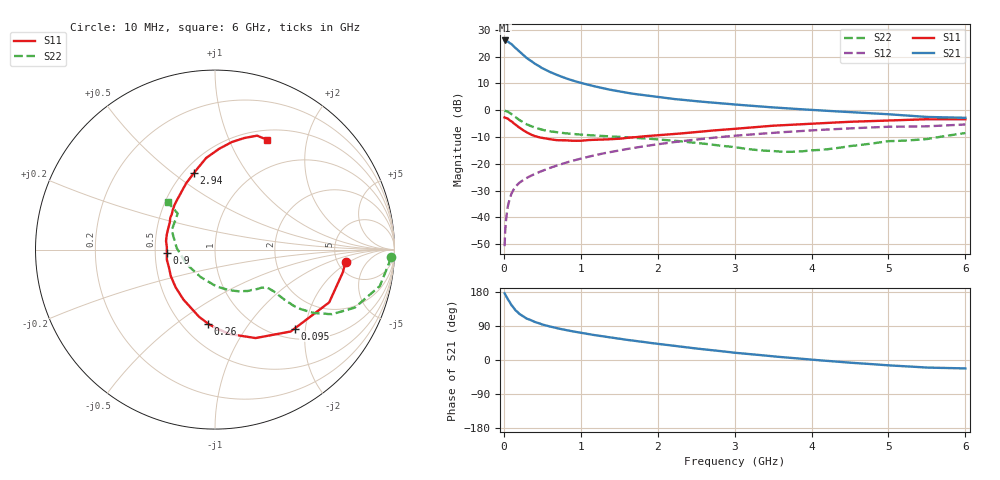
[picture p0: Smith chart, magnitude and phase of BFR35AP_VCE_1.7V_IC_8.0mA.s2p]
! Infineon Technologies  Discrete & RF Semiconductors
! BFR35AP
! VCE =  1.7 V,  IC =  8.0 mA
! Common Emitter S-Parameters:  Nov 2015
# GHz  S  MA  R  50
!  f  S11  S21  S12  S22
! GHz  MAG  ANG  MAG  ANG  MAG  ANG  MAG  ANG
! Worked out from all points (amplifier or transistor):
!   210 points, 10 MHz to 6 GHz, reference 50 ohm
!   highest |S21| = 26.0 dB at 10 MHz (marker M1)
!   |S21| within 3 dB of that: start of sweep to 159.2 MHz
!   unconditionally stable (mu >= 1): 594.8 MHz to 3.988 GHz; 5.388 GHz to 5.674 GHz
!   at 185 MHz: K = 0.51, MSG = 24.9 dB, |S12| = -27.6 dB
!   at 1.52 GHz: K = 1.14, MAG = 8.7 dB, |S12| = -14.9 dB
!   at 6 GHz: K = 0.99, MSG = 1.2 dB, |S12| = -5.3 dB
!   S11 on the Smith chart (normalised r, x): 10 MHz: 5.91, -1.71; 95 MHz: 1.21, -1.75; 260 MHz: 0.66, -0.66; 900 MHz: 0.58, -0.02; 2.94 GHz: 0.56, +0.59; 6 GHz: 0.62, +1.39
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0.01  0.7304 -5.3  19.97 176.1  0.0029 86.4  0.982 -2.5
0.025  0.7168 -12.3  19.5 170.2  0.0078 82.9  0.9635 -6.3
0.05  0.701 -24.8  19.18 160.9  0.0155 77.0  0.9404 -12.5
0.095  0.6243 -44.8  17.2 146.4  0.0266 69.3  0.852 -21.4
0.1  0.6211 -47.3  17.06 144.6  0.0279 68.8  0.8436 -22.5
0.15  0.5421 -65.4  14.53 131.5  0.0371 63.0  0.7446 -28.9
0.2  0.4765 -80.5  12.54 122.1  0.044 60.3  0.6588 -32.5
0.26  0.4149 -95.2  10.45 113.7  0.0505 58.1  0.58 -34.8
0.3  0.385 -103.3  9.346 109.0  0.0547 58.3  0.5416 -35.5
0.4  0.3293 -122.3  7.411 100.6  0.0642 58.2  0.4735 -35.8
0.5  0.3036 -136.3  6.066 93.7  0.0738 59.2  0.4288 -35.5
0.6  0.2872 -149.0  5.152 88.2  0.0838 59.7  0.4031 -35.4
0.7  0.275 -159.1  4.487 83.5  0.0934 60.4  0.3853 -35.6
0.9  0.2686 -176.1  3.546 75.4  0.1143 60.8  0.3589 -36.3
1.02  0.27 175.5  3.174 71.1  0.1268 60.5  0.3484 -37.3
1.4  0.288 153.5  2.375 59.1  0.1668 58.6  0.3245 -42.4
2.02  0.3418 129.9  1.742 42.2  0.2331 52.9  0.2831 -54.7
2.94  0.4416 105.6  1.298 20.6  0.3273 42.0  0.2085 -85.2
3.1  0.4602 102.5  1.243 17.4  0.3419 39.7  0.1947 -93.0
4.1  0.5701 86.3  0.991 -0.7  0.4275 26.4  0.1809 -159.7
5.1  0.6485 74.2  0.82 -15.2  0.4912 12.5  0.2663 151.7
6  0.6771 64.6  0.72 -22.2  0.5404 2.6  0.3736 134.9
